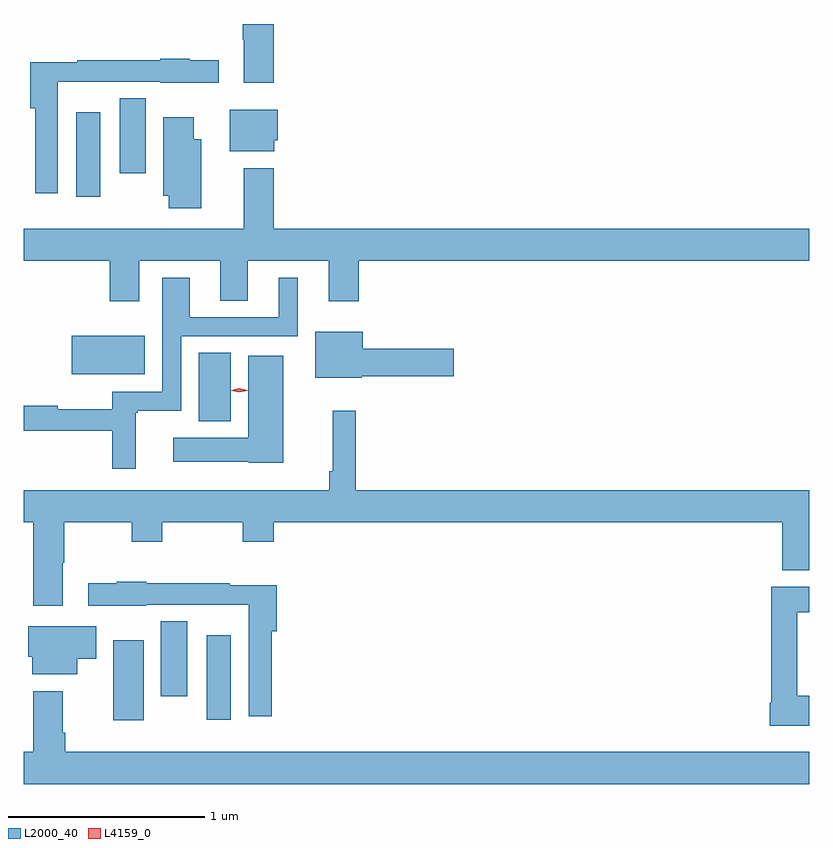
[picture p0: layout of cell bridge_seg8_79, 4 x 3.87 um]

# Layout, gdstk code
import gdstk
lib = gdstk.Library(unit=1e-6, precision=1e-09)
def R(c, l, rs):  # rectangles x0, y0, x1, y1
    for r in rs: c.add(gdstk.rectangle(r[:2], r[2:], *l))
def P(c, l, *ps):  # polygons
    for p in ps: c.add(gdstk.Polygon(p, *l))
L2000_40 = (2000, 40)
L4159_0 = (4159, 0)

bridge_seg8_79 = lib.new_cell('bridge_seg8_79')
R(bridge_seg8_79, L2000_40, [(1010.927,1091.517,1011.082,1091.923), (1011.404,1091.52,1011.526,1091.95), (1011.17,1091.64,1011.304,1092.02), (1011.362,1093.04,1011.526,1093.388), (1010.717,1093.28,1011.088,1093.474), (1010.738,1094.184,1010.86,1094.614), (1010.96,1094.304,1011.094,1094.684)])
P(bridge_seg8_79, L2000_40, [(1011.746,1095.063),(1011.586,1095.063),(1011.586,1094.984),(1011.593,1094.984),(1011.593,1094.763),(1011.746,1094.763)],
  [(1010.646,1094.768),(1010.856,1094.768),(1010.856,1094.769),(1011.168,1094.769),(1011.168,1094.765),(1011.466,1094.765),(1011.466,1094.878),(1011.318,1094.878),(1011.318,1094.887),(1011.168,1094.887),(1011.168,1094.878),(1010.743,1094.878),(1010.743,1094.868),(1010.504,1094.868),(1010.504,1094.633),(1010.53,1094.633),(1010.53,1094.202),(1010.646,1094.202)],
  [(1011.748,1094.472),(1011.766,1094.472),(1011.766,1094.626),(1011.521,1094.626),(1011.521,1094.414),(1011.748,1094.414)],
  [(1011.376,1094.476),(1011.337,1094.476),(1011.337,1094.587),(1011.182,1094.587),(1011.182,1094.189),(1011.211,1094.189),(1011.211,1094.124),(1011.376,1094.124)],
  [(1011.061,1093.856),(1011.473,1093.856),(1011.473,1093.654),(1011.613,1093.654),(1011.613,1093.856),(1012.025,1093.856),(1012.025,1093.65),(1012.178,1093.65),(1012.178,1093.856),(1014.472,1093.856),(1014.472,1094.02),(1011.746,1094.02),(1011.746,1094.329),(1011.593,1094.329),(1011.593,1094.02),(1010.472,1094.02),(1010.472,1093.856),(1010.909,1093.856),(1010.909,1093.65),(1011.061,1093.65)],
  [(1011.041,1093.083),(1011.052,1093.083),(1011.052,1093.094),(1011.273,1093.094),(1011.273,1093.473),(1011.868,1093.473),(1011.868,1093.771),(1011.77,1093.771),(1011.77,1093.569),(1011.316,1093.569),(1011.316,1093.771),(1011.177,1093.771),(1011.177,1093.191),(1010.923,1093.191),(1010.923,1093.1),(1010.646,1093.1),(1010.646,1093.118),(1010.472,1093.118),(1010.472,1092.99),(1010.923,1092.99),(1010.923,1092.798),(1011.041,1092.798)],
  [(1012.194,1093.268),(1012.663,1093.268),(1012.663,1093.41),(1012.198,1093.41),(1012.198,1093.495),(1011.956,1093.495),(1011.956,1093.262),(1012.194,1093.262)],
  [(1011.793,1093.372),(1011.614,1093.372),(1011.614,1092.955),(1011.234,1092.955),(1011.234,1092.833),(1011.618,1092.833),(1011.618,1092.827),(1011.793,1092.827)],
  [(1010.671,1092.32),(1010.679,1092.32),(1010.679,1092.524),(1011.022,1092.524),(1011.022,1092.425),(1011.177,1092.425),(1011.177,1092.524),(1011.586,1092.524),(1011.586,1092.425),(1011.746,1092.425),(1011.746,1092.524),(1014.335,1092.524),(1014.335,1092.281),(1014.472,1092.281),(1014.472,1092.688),(1012.163,1092.688),(1012.163,1093.093),(1012.045,1093.093),(1012.045,1092.784),(1012.027,1092.784),(1012.027,1092.688),(1010.472,1092.688),(1010.472,1092.524),(1010.519,1092.524),(1010.519,1092.099),(1010.671,1092.099)],
  [(1011.734,1091.969),(1011.761,1091.969),(1011.761,1092.204),(1011.521,1092.204),(1011.521,1092.214),(1011.096,1092.214),(1011.096,1092.223),(1010.946,1092.223),(1010.946,1092.214),(1010.799,1092.214),(1010.799,1092.101),(1011.096,1092.101),(1011.096,1092.105),(1011.408,1092.105),(1011.408,1092.104),(1011.618,1092.104),(1011.618,1091.538),(1011.734,1091.538)],
  [(1014.472,1091.641),(1014.412,1091.641),(1014.412,1092.068),(1014.472,1092.068),(1014.472,1092.196),(1014.278,1092.196),(1014.278,1091.607),(1014.272,1091.607),(1014.272,1091.489),(1014.472,1091.489)],
  [(1010.743,1091.83),(1010.842,1091.83),(1010.842,1091.995),(1010.495,1091.995),(1010.495,1091.841),(1010.516,1091.841),(1010.516,1091.75),(1010.743,1091.75)],
  [(1014.472,1091.356),(1010.684,1091.356),(1010.684,1091.452),(1010.671,1091.452),(1010.671,1091.665),(1010.519,1091.665),(1010.519,1091.356),(1010.472,1091.356),(1010.472,1091.192),(1014.472,1091.192)])
P(bridge_seg8_79, L4159_0, [(1011.57,1093.187),(1011.53,1093.196),(1011.53,1093.197),(1011.53,1093.197),(1011.57,1093.207),(1011.609,1093.197),(1011.609,1093.197),(1011.609,1093.196)])

lib.write_gds('bridge_seg8_79.gds')
